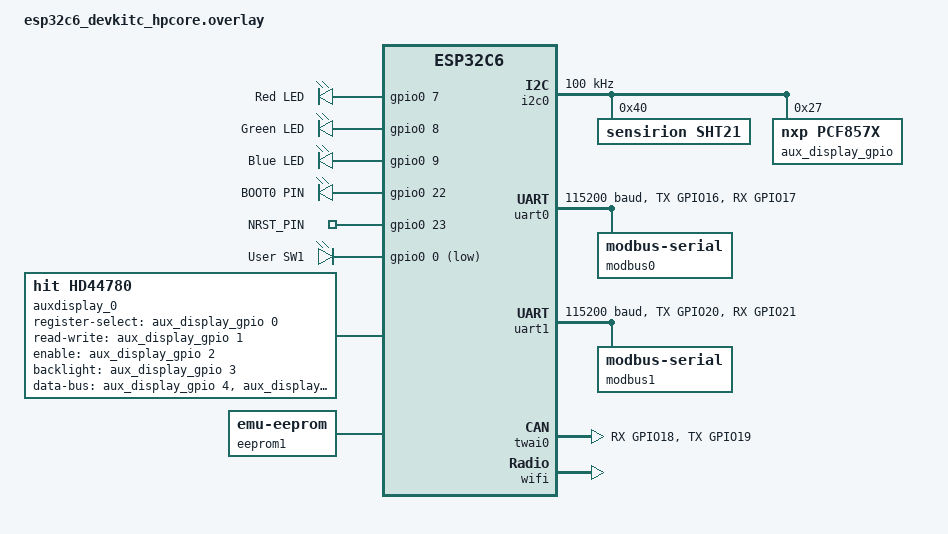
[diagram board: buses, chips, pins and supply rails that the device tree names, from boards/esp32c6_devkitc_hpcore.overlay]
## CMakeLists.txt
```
# SPDX-License-Identifier: Apache-2.0 OR MIT

cmake_minimum_required(VERSION 3.20.0)

find_package(Zephyr REQUIRED HINTS $ENV{ZEPHYR_BASE})
project(Project)

file(READ "${CMAKE_SOURCE_DIR}/VERSION" VERSION_RAW)
string(REPLACE "\r\n" "\n" VERSION_RAW "${VERSION_RAW}")
string(REPLACE "\r"   "\n" VERSION_RAW "${VERSION_RAW}")
string(REGEX REPLACE "\n$" "" VERSION_RAW "${VERSION_RAW}")
string(REPLACE "\n" ";" VERSION_LINES "${VERSION_RAW}")
foreach(line IN LISTS VERSION_LINES)
    string(STRIP "${line}" line)
    if(line MATCHES "^([A-Z_]+)[ ]*=[ ]*(.+)$")
        set(KEY "${CMAKE_MATCH_1}")
        set(VAL "${CMAKE_MATCH_2}")
        message(STATUS "Defining ${KEY}=\"${VAL}\"")
        add_compile_definitions(${KEY}="${VAL}")
    endif()
endforeach()

file(GLOB mongoose_files mongoose/*.c)
target_include_directories(app PRIVATE "${CMAKE_CURRENT_LIST_DIR}/mongoose")

file(GLOB SRC_C_FILES CONFIGURE_DEPENDS "src/*.c" ${mongoose_files})
target_sources(app PRIVATE ${SRC_C_FILES})

rust_cargo_application()
```

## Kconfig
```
# Copyright (c) 2025
# SPDX-License-Identifier: Apache-2.0
# Coskun ERGAN <coskunergan@gmail.com>

mainmenu "ESP32 Canbus Link Demo"

config SAMPLE_RX_THREAD_STACK_SIZE
	int "RX threads stack size"
	default 1024
	help
	  Stack size (in bytes) used for the RX threads.  

config SAMPLE_RX_THREAD_PRIORITY
	int "RX threads priority"
	default 2
	help
	  Priority used for the RX threads.

if WIFI
config NET_IPV4_FORWARDING
    bool "IPv4 forwarding"
    default y
    help
      Enable IPv4 forwarding for AP-STA mode.

config WIFI_SAMPLE_AP_IP_ADDRESS
	string "CONFIG_WIFI_SAMPLE_AP_IP_ADDRESS - Network IP"
	default "192.168.4.1"	

config WIFI_SAMPLE_AP_NETMASK
	string "CONFIG_WIFI_SAMPLE_AP_NETMASK - Network NETMASK"
	default "255.255.255.0"	

config WIFI_SAMPLE_SSID
	string "WIFI SSID - Network name"
	default "SUPERONLINE_Wi-Fi_3AS4"

config WIFI_SAMPLE_PSK
	string "WIFI PSK - Network password key"
	default "K7Q3SKzKC7QN"

config WIFI_SAMPLE_AP_SSID
	string "WIFI AP SSID - Network name"
	default "XENTRON_AP"

config WIFI_SAMPLE_AP_PSK
	string "WIFI AP PSK - Network password key"
	default "deneme123"	

endif # WIFI

source "Kconfig.zephyr"
```

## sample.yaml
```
# See doc/develop/test/twister.rst for what is here.
sample:
  name: Driver Sample
common:
  filter: CONFIG_RUST_SUPPORTED
  platform_allow:
    - qemu_cortex_m0
    - qemu_cortex_m3
    - qemu_riscv32
    - qemu_riscv64    
    - stm32f4_disco
    - nucleo_n657x0_q
    - esp32c3_devkitc
    - esp32c6_devkitc
tests:
  sample.basic.drivers:
    tags:
    filter: 
    depends_on:
    extra_configs:
      - CONFIG_SAMPLE_LOOPBACK_MODE=y
      - CONFIG_SAMPLE_CAN_FD_MODE=n    
    harness:
    integration_platforms:
      - stm32f4_disco
      - nucleo_n657x0_q
      - esp32c3_devkitc
      - esp32c6_devkitc
```

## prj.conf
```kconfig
CONFIG_GPIO=y

CONFIG_RUST=y
CONFIG_RUST_ALLOC=y

CONFIG_DEBUG=y
CONFIG_MAIN_STACK_SIZE=8192

CONFIG_SYS_CLOCK_TICKS_PER_SEC=10000

CONFIG_GPIO_ENABLE_DISABLE_INTERRUPT=y

#Verify that userspace builds work.
#CONFIG_USERSPACE=y

CONFIG_UART_INTERRUPT_DRIVEN=y
CONFIG_UART_LINE_CTRL=n

CONFIG_CONSOLE=y

CONFIG_MODBUS=y
CONFIG_MODBUS_ROLE_CLIENT_SERVER=y

CONFIG_CAN=y
CONFIG_CAN_MAX_FILTER=8
CONFIG_ISOTP=y
CONFIG_ISOTP_RX_SF_FF_BUF_COUNT=1

#CONFIG_SAMPLE_LOOPBACK_MODE=y

CONFIG_GPIO_PCF857X=y
CONFIG_AUXDISPLAY=y
CONFIG_BUILD_OUTPUT_HEX=y

# General config
CONFIG_POSIX_API=y

CONFIG_WIFI=y

CONFIG_NET_CONFIG_NEED_IPV4=y
CONFIG_NET_CONFIG_NEED_IPV6=y
CONFIG_NET_DHCPV4=y
CONFIG_NET_DHCPV4_SERVER=y

# CONFIG_NET_CONFIG_MY_IPV4_NETMASK="255.255.255.0"
# CONFIG_NET_CONFIG_MY_IPV4_GW="192.168.1.1"
# CONFIG_NET_CONFIG_PEER_IPV4_ADDR="192.168.1.1"

# CONFIG_NET_CONFIG_MY_IPV4_ADDR="192.168.1.150"
# CONFIG_NET_CONFIG_MY_IPV4_GW="192.168.1.1"
# CONFIG_NET_CONFIG_MY_IPV4_NETMASK="255.255.255.0"

CONFIG_IDLE_STACK_SIZE=1024
CONFIG_ISR_STACK_SIZE=2048
CONFIG_SYSTEM_WORKQUEUE_STACK_SIZE=2304

CONFIG_NET_PKT_RX_COUNT=32
CONFIG_NET_PKT_TX_COUNT=32
CONFIG_NET_BUF_RX_COUNT=96
CONFIG_NET_BUF_TX_COUNT=96
CONFIG_NET_TX_STACK_SIZE=2048
CONFIG_NET_RX_STACK_SIZE=2048
CONFIG_NET_TC_TX_COUNT=1
CONFIG_NET_TC_RX_COUNT=1

CONFIG_NET_CONTEXT_NET_PKT_POOL=y
#CONFIG_NET_SOCKETS_CONNECT_TIMEOUT=500
CONFIG_NET_TCP_TIME_WAIT_DELAY=0
CONFIG_NET_BUF_POOL_USAGE=y

CONFIG_ENTROPY_GENERATOR=y
CONFIG_TEST_RANDOM_GENERATOR=y

CONFIG_WIFI_ESP32=y
CONFIG_ESP32_WIFI_STA_AUTO_DHCPV4=n
CONFIG_ESP32_WIFI_AP_STA_MODE=y

CONFIG_NET_MGMT=y
CONFIG_NET_MGMT_EVENT=y
CONFIG_NET_MGMT_EVENT_INFO=y

CONFIG_WIFI_NM=y
# CONFIG_WIFI_SHELL_MAX_AP_STA=2
# CONFIG_WIFI_MGMT_RAW_SCAN_RESULTS=y
# CONFIG_WIFI_MGMT_FORCED_PASSIVE_SCAN=y
# CONFIG_WIFI_MGMT_SCAN_SSID_FILT_MAX=3
# CONFIG_WIFI_MGMT_SCAN_CHAN_MAX_MANUAL=10
CONFIG_WIFI_NM_MAX_MANAGED_INTERFACES=2
# CONFIG_WIFI_MGMT_AP_STA_SKIP_INACTIVITY_POLL=y
# CONFIG_WIFI_MGMT_AP_MAX_NUM_STA=10

# CONFIG_WIFI_NM_WPA_SUPPLICANT=y
# CONFIG_WIFI_NM_WPA_SUPPLICANT_DEBUG_LEVEL=0
CONFIG_WIFI_NM_WPA_SUPPLICANT_WEP=y
CONFIG_WIFI_NM_WPA_SUPPLICANT_ADVANCED_FEATURES=y
CONFIG_WIFI_NM_WPA_SUPPLICANT_CLI=y
CONFIG_WPA_CLI=y

CONFIG_NET_TCP_WORKQ_STACK_SIZE=4096

# Network Configuration
CONFIG_NET_CONFIG_AUTO_INIT=n
CONFIG_NET_CONNECTION_MANAGER=y
CONFIG_NET_IF_MAX_IPV4_COUNT=2
CONFIG_NET_IF_MAX_IPV6_COUNT=2
CONFIG_NET_IPV4=y
CONFIG_NET_IPV6=n

# CONFIG_NET_L2_ETHERNET=y
CONFIG_NET_L2_WIFI_MGMT=y
CONFIG_NET_MGMT=y   
CONFIG_NET_MGMT_EVENT=y
CONFIG_NET_MGMT_EVENT_INFO=y
CONFIG_NET_MGMT_EVENT_QUEUE_SIZE=32
CONFIG_NET_MGMT_EVENT_STACK_SIZE=4096
CONFIG_NET_SOCKETS_SERVICE_STACK_SIZE=4096
CONFIG_NET_TCP=y
CONFIG_NET_UDP=y
CONFIG_NETWORKING=y

CONFIG_NET_SOCKETS_POLL_MAX=32
CONFIG_ZVFS_OPEN_MAX=32
CONFIG_NET_MAX_CONN=32
CONFIG_NET_MAX_CONTEXTS=32
CONFIG_NET_BUF_FIXED_DATA_SIZE=y
CONFIG_NET_BUF_DATA_SIZE=512

CONFIG_PM=n

CONFIG_NET_TCP_KEEPALIVE=y
CONFIG_NET_TCP_KEEPIDLE_DEFAULT=15
CONFIG_NET_TCP_KEEPINTVL_DEFAULT=10

# General config
CONFIG_REQUIRES_FULL_LIBC=y
CONFIG_MBEDTLS=y
CONFIG_MBEDTLS_ENABLE_HEAP=y
CONFIG_MBEDTLS_MD_C=y
CONFIG_NET_CONTEXT_RCVTIMEO=y
CONFIG_NET_CONTEXT_SNDTIMEO=y
CONFIG_NET_TCP_MAX_RECV_WINDOW_SIZE=16384

CONFIG_NET_TCP_RETRY_COUNT=3
CONFIG_NET_TCP_INIT_RETRANSMISSION_TIMEOUT=120
#----------------------------

CONFIG_BOOTLOADER_MCUBOOT=y
CONFIG_MCUBOOT_SIGNATURE_KEY_FILE="root-rsa-2048.pem"

CONFIG_ZCBOR=y
CONFIG_CRC=y
CONFIG_MCUMGR=y
CONFIG_STREAM_FLASH=y
CONFIG_FLASH_MAP=y

CONFIG_IMG_MANAGER=y
CONFIG_MCUBOOT_IMG_MANAGER=y
CONFIG_FLASH=y
# CONFIG_STATS=y
# CONFIG_STATS_NAMES=y
CONFIG_MCUMGR_GRP_IMG=y
CONFIG_MCUMGR_GRP_STAT=y
CONFIG_MCUBOOT_UTIL_LOG_LEVEL_WRN=y
CONFIG_MCUBOOT_BOOTLOADER_MODE_SINGLE_APP=n

# CONFIG_MCUMGR_TRANSPORT_UART=y
# CONFIG_MCUMGR_TRANSPORT_UART_MTU=256
CONFIG_MCUMGR_TRANSPORT_UDP=y
CONFIG_MCUMGR_TRANSPORT_UDP_PORT=1337
CONFIG_MCUMGR_TRANSPORT_UDP_MTU=1024

CONFIG_BASE64=y

CONFIG_THREAD_MONITOR=y
CONFIG_MCUMGR_GRP_OS=y
CONFIG_MCUMGR_GRP_OS_TASKSTAT=y
CONFIG_MCUMGR_GRP_SHELL=y
CONFIG_SHELL_BACKEND_SERIAL=y

#CONFIG_SIZE_OPTIMIZATIONS=y
CONFIG_SIZE_OPTIMIZATIONS_AGGRESSIVE=y

CONFIG_SENSOR=y
CONFIG_I2C=y

CONFIG_EEPROM=y
CONFIG_EEPROM_EMULATOR=y

#----------------------

CONFIG_NET_IPV4_NAT=y
CONFIG_NET_IPV4_NAT_RUST=y
CONFIG_NET_IPV4_NAT_MAX_ENTRIES=64

# CONFIG_NET_CONFIG_MY_IPV4_ADDR="192.168.1.150"
# CONFIG_NET_CONFIG_MY_IPV4_GW="192.168.1.1"
# CONFIG_NET_CONFIG_MY_IPV4_NETMASK="255.255.255.0"

CONFIG_NET_BUF=y
CONFIG_NET_ROUTING=y
CONFIG_NET_CONFIG_SETTINGS=n
# CONFIG_NET_STATISTICS=y
CONFIG_NET_IPV4_FORWARDING=y

CONFIG_SHELL=y
CONFIG_SHELL_CMDS=y
CONFIG_NET_SHELL=y
CONFIG_KERNEL_SHELL=y

CONFIG_LOG=y
CONFIG_LOG_DEFAULT_LEVEL=2

# CONFIG_NET_LOG=y
# #CONFIG_LOG_MAX_LEVEL=3
# CONFIG_LOG_BUFFER_SIZE=8192
# CONFIG_LOG_MODE_DEFERRED=y

# CONFIG_NET_L2_ETHERNET_LOG_LEVEL_DBG=y
# CONFIG_NET_DHCPV4_SERVER_LOG_LEVEL_DBG=y
# CONFIG_NET_SOCKETS_LOG_LEVEL_DBG=y
# CONFIG_NET_IF_LOG_LEVEL_DBG=y
# CONFIG_NET_CONN_LOG_LEVEL_DBG=y
# CONFIG_NET_IPV4_LOG_LEVEL_DBG=y
# CONFIG_NET_CORE_LOG_LEVEL_DBG=y
# CONFIG_NET_CONTEXT_LOG_LEVEL_DBG=y
# CONFIG_NET_MGMT_EVENT_LOG_LEVEL_DBG=y
# CONFIG_NET_MGMT_EVENT_LOG_LEVEL_INF=y
# CONFIG_NET_TCP_LOG_LEVEL_DBG=y
# CONFIG_NET_DEBUG_NET_PKT_ALLOC=y
CONFIG_SYS_HEAP_RUNTIME_STATS=y
CONFIG_NET_STATISTICS=y

CONFIG_NET_IPV4_FRAGMENT=n
CONFIG_NET_IF_UNICAST_IPV4_ADDR_COUNT=2

CONFIG_DNS_RESOLVER=y
CONFIG_DNS_SERVER_IP_ADDRESSES=y
CONFIG_DNS_SERVER1="8.8.8.8"
```

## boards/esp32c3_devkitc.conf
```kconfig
CONFIG_HEAP_MEM_POOL_SIZE=50000
# CONFIG_NET_CONFIG_MY_IPV4_ADDR="192.168.1.7"
```

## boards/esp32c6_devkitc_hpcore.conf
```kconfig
CONFIG_HEAP_MEM_POOL_SIZE=100000
# CONFIG_NET_CONFIG_MY_IPV4_ADDR="192.168.1.15"
```

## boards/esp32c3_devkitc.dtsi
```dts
#include <zephyr/dt-bindings/pinctrl/esp-pinctrl-common.h>
#include <dt-bindings/pinctrl/esp32c3-pinctrl.h>
#include <zephyr/dt-bindings/pinctrl/esp32c3-gpio-sigmap.h>

&pinctrl {
    uart0_pins: uart0_pins {
		group1 {
			pinmux = <UART0_TX_GPIO21>;
			output-high;
		};
		group2 {
			pinmux = <UART0_RX_GPIO20>;
			bias-pull-up;
		};
	};
	uart1_pins: uart1_pins {
		group1 {
			pinmux = <UART1_TX_GPIO18>;
			output-high;
		};
		group2 {
			pinmux = <UART1_RX_GPIO19>;
			bias-pull-up;
		};
	};
	pcf8574_pins: pcf8574_pins {
    	group1 {
                pinmux = <I2C0_SDA_GPIO4>,
                            <I2C0_SCL_GPIO5>;
                bias-pull-up;
                drive-open-drain;
                output-high;
            };
    };	
};

&i2c0 { 
	status = "okay"; 
	clock-frequency = <I2C_BITRATE_STANDARD>; 
	pinctrl-0 = <&pcf8574_pins>; 
	pinctrl-names = "default"; 
};
```

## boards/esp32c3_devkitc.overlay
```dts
#include <zephyr/dt-bindings/pinctrl/esp-pinctrl-common.h>
#include <dt-bindings/pinctrl/esp32c3-pinctrl.h>
#include <zephyr/dt-bindings/pinctrl/esp32c3-gpio-sigmap.h>

/ { 		
	leds {
		compatible = "gpio-leds";
		red_led: red_led {
			gpios = <&gpio0 3 GPIO_ACTIVE_HIGH>;
			label = "Red LED";
		};
		green_led: green_led {
			gpios = <&gpio0 4 GPIO_ACTIVE_HIGH>;
			label = "Green LED";
		};
		blue_led: blue_led {
			gpios = <&gpio0 5 GPIO_ACTIVE_HIGH>;
			label = "Blue LED";
		};
	};
	
	buttons {
		compatible = "gpio-leds";
		button: button {
			label = "User SW1";
			gpios = <&gpio0 9 (GPIO_PULL_UP | GPIO_ACTIVE_LOW)>;
		};
	};	

	auxdisplay_0: hd44780 {
		compatible = "hit,hd44780";
		columns = <16>;
		rows = <2>;
		mode = <4>;
		boot-delay-ms = <100>;
		register-select-gpios = <&aux_display_gpio 0 (GPIO_ACTIVE_HIGH)>;
		read-write-gpios    = <&aux_display_gpio 1 (GPIO_ACTIVE_HIGH)>;
		enable-gpios        = <&aux_display_gpio 2 (GPIO_ACTIVE_HIGH)>;
		backlight-gpios     = <&aux_display_gpio 3 (GPIO_ACTIVE_HIGH)>;
		data-bus-gpios      = <0>, <0>, <0>, <0>,
				<&aux_display_gpio 4 (GPIO_ACTIVE_HIGH)>,
				<&aux_display_gpio 5 (GPIO_ACTIVE_HIGH)>,
				<&aux_display_gpio 6 (GPIO_ACTIVE_HIGH)>,
				<&aux_display_gpio 7 (GPIO_ACTIVE_HIGH)>;
	};
};

&pinctrl {
    uart0_pins: uart0_pins {
		group1 {
			pinmux = <UART0_TX_GPIO21>;
			output-high;
		};
		group2 {
			pinmux = <UART0_RX_GPIO20>;
			bias-pull-up;
		};
	};
	uart1_pins: uart1_pins {
		group1 {
			pinmux = <UART1_TX_GPIO18>;
			output-high;
		};
		group2 {
			pinmux = <UART1_RX_GPIO19>;
			bias-pull-up;
		};
	};
	pcf8574_pins: pcf8574_pins {
    	group1 {
                pinmux = <I2C0_SDA_GPIO6>,
                            <I2C0_SCL_GPIO7>;
                bias-pull-up;
                drive-open-drain;
                output-high;
            };
    };	
};

&i2c0 { 
	status = "okay"; 
	pinctrl-0 = <&pcf8574_pins>; 
	clock-frequency = <I2C_BITRATE_STANDARD>; 
	pinctrl-names = "default"; 
   	sht21: sht21@40 {
        compatible = "sensirion,sht21";
        reg = <0x40>;
		label = "sht21";
        status = "okay";
    };		
	aux_display_gpio: pcf8574@27 {
		compatible = "nxp,pcf857x";
		reg = <0x27>;
		gpio-controller;
		ngpios = <8>;
		#gpio-cells = <2>;
	};				
};

&uart0 {
	pinctrl-0 = <&uart0_pins>;
	pinctrl-names = "default";
	current-speed = <115200>;
	status = "okay";
	modbus0 {
		compatible = "zephyr,modbus-serial";
		status = "okay";
	};		
};

&uart1 {
	pinctrl-0 = <&uart1_pins>;
	pinctrl-names = "default";
	current-speed = <115200>;
	status = "okay";
	modbus1 {
		compatible = "zephyr,modbus-serial";
		status = "okay";
	};		
};

&wifi {
    status = "okay";
};

&flash0 {
    reg = <0x0 DT_SIZE_M(2)>;
    
    /delete-node/ partitions;
    
    partitions {
        compatible = "fixed-partitions";
        #address-cells = <1>;
        #size-cells = <1>;

        /* Bootloader - 64KB */
        boot_partition: partition@0 {
            label = "mcuboot";
            reg = <0x00000000 0x00010000>;
            read-only;
        };
        
        /* Slot 0 - 960KB */
        slot0_partition: partition@10000 {
            label = "image-0";
            reg = <0x00010000 0x000F0000>;
        };
        
        /* Slot 1 - 960KB  */
        slot1_partition: partition@100000 {
            label = "image-1";
            reg = <0x00100000 0x000F0000>;
        };
        
        /* Storage - 64KB */
        storage_partition: partition@1F0000 {
            label = "storage";
            reg = <0x001F0000 0x00010000>;
        };
    };
};
```

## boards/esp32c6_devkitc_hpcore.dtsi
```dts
#include <zephyr/dt-bindings/pinctrl/esp-pinctrl-common.h>
#include <dt-bindings/pinctrl/esp32c6-pinctrl.h>
#include <zephyr/dt-bindings/pinctrl/esp32c6-gpio-sigmap.h>

&pinctrl {    
	uart0_pins: uart0_pins {
		group1 {
			pinmux = <UART0_TX_GPIO16>;
			output-high;
		};

		group2 {
			pinmux = <UART0_RX_GPIO17>;
			bias-pull-up;
		};
	};
	uart1_pins: uart1_pins {
		group1 {
			pinmux = <UART1_TX_GPIO20>;
			output-high;
		};

		group2 {
			pinmux = <UART1_RX_GPIO21>;
			bias-pull-up;
		};
	};
	twai0_pins: twai0_pins {
		group1 {
			pinmux = <TWAI0_RX_GPIO18>;
			output-enable;	
		};
		group2 {
			pinmux = <TWAI0_TX_GPIO19>;
			input-enable;	
		};
	};
	pcf8574_pins: pcf8574_pins {
    	group1 {
                pinmux = <I2C0_SDA_GPIO4>,
                            <I2C0_SCL_GPIO5>;
                bias-pull-up;
                drive-open-drain;
                output-high;
            };
    };	
};

&i2c0 { 
	status = "okay"; 
	clock-frequency = <I2C_BITRATE_STANDARD>; 
	pinctrl-0 = <&pcf8574_pins>; 
	pinctrl-names = "default"; 
};
```

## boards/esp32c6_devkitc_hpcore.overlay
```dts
#include <zephyr/dt-bindings/pinctrl/esp-pinctrl-common.h>
#include <dt-bindings/pinctrl/esp32c6-pinctrl.h>
#include <zephyr/dt-bindings/pinctrl/esp32c6-gpio-sigmap.h>

/ { 	
	aliases {
        uart1 = &uart1;
    };
	leds {
		compatible = "gpio-leds";
		red_led: red_led {
			gpios = <&gpio0 7 GPIO_ACTIVE_HIGH>;
			label = "Red LED";
		};
		green_led: green_led {
			gpios = <&gpio0 8 GPIO_ACTIVE_HIGH>;
			label = "Green LED";
		};
		blue_led: blue_led {
			gpios = <&gpio0 9 GPIO_ACTIVE_HIGH>;
			label = "Blue LED";
		};
	};
	boot0-gpio {
		compatible = "gpio-leds";
		boot0_pin: boot0_pin {
			gpios = <&gpio0 22 GPIO_ACTIVE_HIGH>;
			label = "BOOT0 PIN";
		};	
	};
	nrst-gpio {
		compatible = "gpio-leds";			
		nrst_pin: nrst_pin {
			gpios = <&gpio0 23 GPIO_ACTIVE_HIGH>;
			label = "NRST_PIN";
		};		
	};	
	buttons {
		compatible = "gpio-leds";
		button: button {
			label = "User SW1";
			gpios = <&gpio0 0 (GPIO_PULL_UP | GPIO_ACTIVE_LOW)>;
		};
	};		

	auxdisplay_0: hd44780 {
		compatible = "hit,hd44780";
		columns = <16>;
		rows = <2>;
		mode = <4>;
		boot-delay-ms = <100>;
		register-select-gpios = <&aux_display_gpio 0 (GPIO_ACTIVE_HIGH)>;
		read-write-gpios    = <&aux_display_gpio 1 (GPIO_ACTIVE_HIGH)>;
		enable-gpios        = <&aux_display_gpio 2 (GPIO_ACTIVE_HIGH)>;
		backlight-gpios     = <&aux_display_gpio 3 (GPIO_ACTIVE_HIGH)>;
		data-bus-gpios      = <0>, <0>, <0>, <0>,
				<&aux_display_gpio 4 (GPIO_ACTIVE_HIGH)>,
				<&aux_display_gpio 5 (GPIO_ACTIVE_HIGH)>,
				<&aux_display_gpio 6 (GPIO_ACTIVE_HIGH)>,
				<&aux_display_gpio 7 (GPIO_ACTIVE_HIGH)>;
	};		
	eeprom1: eeprom1 {
		status = "okay";
		compatible = "zephyr,emu-eeprom";
		size = <DT_SIZE_K(4)>;
		pagesize = <DT_SIZE_K(8)>;
	 	partition = <&storage_partition>;
	 	rambuf;
	};	
	aliases {		
		eeprom-1 = &eeprom1;
	};	
	wifi_ap: wifi_ap {
		compatible = "espressif,esp32-wifi";
		status = "okay";
	};	
};

&pinctrl {    
	uart0_pins: uart0_pins {
		group1 {
			pinmux = <UART0_TX_GPIO16>;
			output-high;
		};

		group2 {
			pinmux = <UART0_RX_GPIO17>;
			bias-pull-up;
		};
	};
	uart1_pins: uart1_pins {
		group1 {
			pinmux = <UART1_TX_GPIO20>;
			output-high;
		};

		group2 {
			pinmux = <UART1_RX_GPIO21>;
			bias-pull-up;
		};
	};
	twai0_pins: twai0_pins {
		group1 {
			pinmux = <TWAI0_RX_GPIO18>;
			output-enable;	
		};
		group2 {
			pinmux = <TWAI0_TX_GPIO19>;
			input-enable;	
		};
	};
	pcf8574_pins: pcf8574_pins {
    	group1 {
                pinmux = <I2C0_SDA_GPIO4>,
                            <I2C0_SCL_GPIO5>;
                bias-pull-up;
                drive-open-drain;
                output-high;
            };
    };	
};

&i2c0 { 
	status = "okay"; 
	pinctrl-0 = <&pcf8574_pins>; 
	clock-frequency = <I2C_BITRATE_STANDARD>; 
	pinctrl-names = "default"; 
   	sht21: sht21@40 {
        compatible = "sensirion,sht21";
        reg = <0x40>;
		label = "sht21";
        status = "okay";
    };		
	aux_display_gpio: pcf8574@27 {
		compatible = "nxp,pcf857x";
		reg = <0x27>;
		gpio-controller;
		ngpios = <8>;
		#gpio-cells = <2>;
	};				
};

&uart0 {
	pinctrl-0 = <&uart0_pins>;
	pinctrl-names = "default";
	current-speed = <115200>;
	status = "okay";
	modbus0 {
		compatible = "zephyr,modbus-serial";
		status = "okay";
	};		
};

&uart1 {
	pinctrl-0 = <&uart1_pins>;
	pinctrl-names = "default";
	current-speed = <115200>;
	parity = "even";
	status = "okay";
	modbus1 {
		compatible = "zephyr,modbus-serial";
		status = "okay";
	};		
};

&twai0{		
	pinctrl-0 = <&twai0_pins>;
	pinctrl-names = "default";
	label = "canbus0"; 
	status = "okay";
	can-transceiver {
		max-bitrate = <1000000>;
	};
};

&wifi {
    status = "okay";
};
```

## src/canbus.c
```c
// Copyright (c) 2025
// SPDX-License-Identifier: Apache-2.0
// Coskun ERGAN <coskunergan@gmail.com>

#include <zephyr/kernel.h>
#include <zephyr/canbus/isotp.h>
#include <zephyr/sys/util.h>
#include <zephyr/logging/log.h>
#include <zephyr/sys/sys_heap.h>
#include <zephyr/shell/shell.h>
#include <stdlib.h> 

LOG_MODULE_REGISTER(canbus, LOG_LEVEL_DBG);

// static int cmd_heap_free_estimate(const struct shell *sh, size_t argc, char **argv)
// {
//     size_t step = 1024;
//     size_t total = 0;
//     void *ptrs[64];        
//     int i = 0;

//     while (i < 64) {
//         void *p = malloc(step);
//         if (!p) break;      
//         ptrs[i++] = p;
//         total += step;
//     }

//     shell_print(sh, "Estimated free heap: ~%u bytes", (unsigned int)total);

//     while (i--) free(ptrs[i]);

//     return 0;
// }

// SHELL_CMD_REGISTER(heapfree, NULL, "Estimate minimal libc heap free space", cmd_heap_free_estimate);


const struct isotp_fc_opts fc_opts_8_0 = {.bs = 8, .stmin = 0};

const struct isotp_msg_id rx_addr_8_0 =
{
    .std_id = 0x80,
#ifdef CONFIG_SAMPLE_CAN_FD_MODE
    .flags = ISOTP_MSG_FDF | ISOTP_MSG_BRS,
#endif
};
const struct isotp_msg_id tx_addr_8_0 =
{
    .std_id = 0x180,
#ifdef CONFIG_SAMPLE_CAN_FD_MODE
    .dl = 64,
    .flags = ISOTP_MSG_FDF | ISOTP_MSG_BRS,
#endif
};

const struct device *can_dev;
struct isotp_recv_ctx recv_ctx_8_0;
struct isotp_send_ctx send_ctx_8_0;

K_THREAD_STACK_DEFINE(rx_8_0_thread_stack, CONFIG_SAMPLE_RX_THREAD_STACK_SIZE);
struct k_thread rx_8_0_thread_data;

extern void canbus_data_handler(const uint8_t *data, uint32_t len);

void rx_8_0_thread(void *arg1, void *arg2, void *arg3)
{
    ARG_UNUSED(arg1);
    ARG_UNUSED(arg2);
    ARG_UNUSED(arg3);
    int ret, rem_len;
    struct net_buf *buf;

    ret = isotp_bind(&recv_ctx_8_0, can_dev,
                     &tx_addr_8_0, &rx_addr_8_0,
                     &fc_opts_8_0, K_FOREVER);
    if(ret != ISOTP_N_OK)
    {
        LOG_ERR("Failed to bind to rx ID %d [%d]\n",
                rx_addr_8_0.std_id, ret);
        return;
    }

    while(1)
    {
        do
        {
            rem_len = isotp_recv_net(&recv_ctx_8_0, &buf,
                                     K_MSEC(20));
            if(rem_len < 0)
            {
                break;
            }
            while(buf != NULL)
            {
                canbus_data_handler(buf->data, buf->len);
                buf = net_buf_frag_del(NULL, buf);
            }
        }
        while(rem_len);
    }
}

void send_complette_cb(int error_nr, void *arg)
{
    ARG_UNUSED(arg);
    if(error_nr < 0)
    {
        LOG_ERR("TX complete cb [%d]\n", error_nr);
    }
}

int canbus_init(const char *dev_name)
{
    k_tid_t tid;

    int ret = 0;

    can_dev = device_get_binding(dev_name);

    if(!device_is_ready(can_dev))
    {
        LOG_ERR("CAN: Device driver not ready.\n");
        return -1;
    }

    struct can_timing timing;

    ret = can_calc_timing(can_dev, &timing, 500000, 875);
    if(ret < 0)
    {
        LOG_ERR("Failed to calc timing: %d\n", ret);
        return ret;
    }

    ret = can_set_timing(can_dev, &timing);
    if(ret < 0)
    {
        LOG_ERR("Failed to set timing: %d\n", ret);
        return ret;
    }

    can_mode_t mode = (IS_ENABLED(CONFIG_SAMPLE_LOOPBACK_MODE) ? CAN_MODE_LOOPBACK : 0) |
                      (IS_ENABLED(CONFIG_SAMPLE_CAN_FD_MODE) ? CAN_MODE_FD : 0);
    ret = can_set_mode(can_dev, mode);
    if(ret != 0)
    {
        LOG_ERR("CAN: Failed to set mode [%d]", ret);
        return ret;
    }

    ret = can_start(can_dev);
    if(ret != 0)
    {
        LOG_ERR("CAN: Failed to start device [%d]\n", ret);
        return ret;
    }

    tid = k_thread_create(&rx_8_0_thread_data, rx_8_0_thread_stack,
                          K_THREAD_STACK_SIZEOF(rx_8_0_thread_stack),
                          rx_8_0_thread, NULL, NULL, NULL,
                          CONFIG_SAMPLE_RX_THREAD_PRIORITY, 0, K_NO_WAIT);
    if(!tid)
    {
        LOG_ERR("ERROR spawning rx thread\n");
        return -1;
    }
    k_thread_name_set(tid, "rx_8_0");

    return ret;
}

int canbus_isotp_send(const uint8_t *data, const uint16_t len)
{
    int ret = isotp_send(&send_ctx_8_0, can_dev,
                         data, len,
                         &tx_addr_8_0, &rx_addr_8_0, send_complette_cb, NULL);
    if(ret != ISOTP_N_OK)
    {
        LOG_WRN("Error while sending data to ID %d [%d]\n",
                tx_addr_8_0.std_id, ret);
    }
    return ret;
}
```

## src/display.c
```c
// Copyright (c) 2025
// SPDX-License-Identifier: Apache-2.0
// Coskun ERGAN <coskunergan@gmail.com>

#include <zephyr/kernel.h>
#include <zephyr/devicetree.h>
#include <zephyr/device.h>
#include <zephyr/drivers/auxdisplay.h>
#include <zephyr/logging/log.h>

LOG_MODULE_REGISTER(auxdisplay, LOG_LEVEL_DBG);

static const struct device *const display_dev = DEVICE_DT_GET_OR_NULL(DT_NODELABEL(auxdisplay_0));

int display_init()
{
    if(display_dev == NULL)
    {
        LOG_ERR("Auxdisplay device is not a device.");
        return -EINVAL;
    }
    if(!device_is_ready(display_dev))
    {
        LOG_ERR("Auxdisplay device is not ready.");
        return -ENODEV;
    }
    return 0;
}

int display_write(const uint8_t *data, uint16_t len)
{
    return auxdisplay_write(display_dev, data, len);
}

int display_clear(void)
{
    return auxdisplay_clear(display_dev);
}

int display_set_cursor(bool state)
{
    return auxdisplay_cursor_set_enabled(display_dev, state);
}

int display_set_backlight(uint8_t state)
{
    return auxdisplay_backlight_set(display_dev, state);
}
```

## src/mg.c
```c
// Copyright (c) 2025
// SPDX-License-Identifier: Apache-2.0
// Coskun ERGAN <coskunergan@gmail.com>

#include <zephyr/kernel.h>
#include <zephyr/canbus/isotp.h>
#include <zephyr/sys/util.h>
#include <zephyr/logging/log.h>

#include "mongoose_glue.h"

void mg_poll()
{
    mongoose_poll();
}

int mg_init()
{
    mongoose_init();
    return 0;
}
```

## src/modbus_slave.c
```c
// Copyright (c) 2025
// SPDX-License-Identifier: Apache-2.0
// Coskun ERGAN <coskunergan@gmail.com>

#include <zephyr/kernel.h>
#include <zephyr/devicetree.h>
#include <zephyr/modbus/modbus.h>
#include <zephyr/sys/util.h>
#include <zephyr/logging/log.h>

LOG_MODULE_REGISTER(modbus_slave, LOG_LEVEL_DBG);

const uint16_t drv_slave_id = 1;
uint8_t client_iface;

#define NUMBER_OF_MB_ITEM 64

struct
{
    uint16_t *regs[NUMBER_OF_MB_ITEM];
} modbus_regs_ptr;

static int holding_reg_rd(uint16_t addr, uint16_t *reg)
{
    if(addr >= NUMBER_OF_MB_ITEM)
    {
        return -ENOTSUP;
    }
    else
    {
        if(modbus_regs_ptr.regs[addr] != NULL)
        {
            *reg = *modbus_regs_ptr.regs[addr];
        }
        else
        {
            *reg = 0;
            return -ENOTSUP;
        }
    }
    return 0;
}

static int holding_reg_wr(uint16_t addr, uint16_t reg)
{
    if(addr >= NUMBER_OF_MB_ITEM)
    {
        return -ENOTSUP;
    }
    else
    {
        if(modbus_regs_ptr.regs[addr] != NULL)
        {
            *modbus_regs_ptr.regs[addr] = reg;
        }
        else
        {
            return -ENOTSUP;
        }
    }
    return 0;
}

static struct modbus_user_callbacks mbs_cbs =
{
    .coil_rd = NULL,
    .coil_wr = NULL,
    .input_reg_rd = NULL,
    .holding_reg_rd = holding_reg_rd,
    .holding_reg_wr = holding_reg_wr,
};

const static struct modbus_iface_param client_param =
{
    .mode = MODBUS_MODE_RTU,
    .server = {
        .user_cb = &mbs_cbs,
        .unit_id = drv_slave_id,
    },
    .serial = {
        .baud = 115200,
        .parity = UART_CFG_PARITY_EVEN,
        .stop_bits = UART_CFG_STOP_BITS_1,
    },
};

int mb_slave_init(const char *dev)
{
    client_iface = modbus_iface_get_by_name(dev);
    if(modbus_init_server(client_iface, client_param))
    {
        LOG_ERR("Modbus Server initialization failed! client_iface: %d", client_iface);
        return -1;
    }
    LOG_INF("Modbus Server initialization ok. client_iface: %d", client_iface);
    return 0;
}

int mb_slave_disable()
{    
    return modbus_disable(client_iface);
}

int mb_add_holding_reg(uint16_t * reg, const uint16_t addr)
{
    if(addr >= NUMBER_OF_MB_ITEM)
    {
        return -1;
    }
    modbus_regs_ptr.regs[addr] = reg;
    return 0;
}
```

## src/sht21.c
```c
// Copyright (c) 2025
// SPDX-License-Identifier: Apache-2.0
// Coskun ERGAN <coskunergan@gmail.com>

#include <zephyr/kernel.h>
#include <zephyr/devicetree.h>
#include <zephyr/device.h>
#include <zephyr/drivers/sensor.h>
#include <zephyr/logging/log.h>

LOG_MODULE_REGISTER(sht21, LOG_LEVEL_DBG);

static const struct device *const sht21_dev = DEVICE_DT_GET_OR_NULL(DT_NODELABEL(sht21));

int sht21_init()
{
    if(!device_is_ready(sht21_dev))
    {
        LOG_ERR("SHT21 device is not ready.");
        return -ENODEV;
    }

    return 0;
}

int sht21_read_data(float *temperature, float *humidity)
{
    struct sensor_value temp_val, hum_val;
    int ret;

    if(sht21_dev == NULL)
    {
        LOG_ERR("HATA: Sensör başlatılmamış!\n");
        return -EINVAL;
    }

    if(temperature == NULL || humidity == NULL)
    {
        LOG_ERR("HATA: Geçersiz pointer!\n");
        return -EINVAL;
    }

    ret = sensor_sample_fetch(sht21_dev);
    if(ret)
    {
        LOG_ERR("HATA: Sensor sample fetch hatası: %d\n", ret);
        return ret;
    }

    ret = sensor_channel_get(sht21_dev, SENSOR_CHAN_AMBIENT_TEMP, &temp_val);
    if(ret)
    {
        LOG_ERR("HATA: Sıcaklık okuma hatası: %d\n", ret);
        return ret;
    }

    ret = sensor_channel_get(sht21_dev, SENSOR_CHAN_HUMIDITY, &hum_val);
    if(ret)
    {
        LOG_ERR("HATA: Nem okuma hatası: %d\n", ret);
        return ret;
    }

    *temperature = sensor_value_to_double(&temp_val);
    *humidity = sensor_value_to_double(&hum_val);

    return 0;
}

int sht21_read_temperature(float *temperature)
{
    struct sensor_value temp_val;
    int ret;

    if(sht21_dev == NULL)
    {
        return -EINVAL;
    }

    if(temperature == NULL)
    {
        return -EINVAL;
    }

    ret = sensor_sample_fetch_chan(sht21_dev, SENSOR_CHAN_AMBIENT_TEMP);
    if(ret)
    {
        return ret;
    }

    ret = sensor_channel_get(sht21_dev, SENSOR_CHAN_AMBIENT_TEMP, &temp_val);
    if(ret)
    {
        return ret;
    }

    *temperature = sensor_value_to_double(&temp_val);
    return 0;
}

int sht21_read_humidity(float *humidity)
{
    struct sensor_value hum_val;
    int ret;

    if(sht21_dev == NULL)
    {
        return -EINVAL;
    }

    if(humidity == NULL)
    {
        return -EINVAL;
    }

    ret = sensor_sample_fetch_chan(sht21_dev, SENSOR_CHAN_HUMIDITY);
    if(ret)
    {
        return ret;
    }

    ret = sensor_channel_get(sht21_dev, SENSOR_CHAN_HUMIDITY, &hum_val);
    if(ret)
    {
        return ret;
    }

    *humidity = sensor_value_to_double(&hum_val);
    return 0;
}

bool sht21_is_ready()
{
    if(sht21_dev == NULL)
    {
        return false;
    }
    return device_is_ready(sht21_dev);
}
```

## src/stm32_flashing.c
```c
// Copyright (c) 2025
// SPDX-License-Identifier: Apache-2.0
// Coskun ERGAN <coskunergan@gmail.com>

#include <zephyr/kernel.h>
#include <zephyr/device.h>
#include <zephyr/drivers/gpio.h>
#include <zephyr/drivers/uart.h>
#include <zephyr/drivers/flash.h>
#include <zephyr/storage/flash_map.h>
#include <zephyr/logging/log.h>
#include <zephyr/drivers/uart.h>

LOG_MODULE_REGISTER(main, LOG_LEVEL_INF);

#define UART_DEV        DEVICE_DT_GET(DT_ALIAS(uart1))
#define BOOT0_NODE      DT_NODELABEL(boot0_pin)
#define NRST_NODE       DT_NODELABEL(nrst_pin)

static const struct gpio_dt_spec boot0 = GPIO_DT_SPEC_GET(BOOT0_NODE, gpios);
static const struct gpio_dt_spec nrst  = GPIO_DT_SPEC_GET(NRST_NODE,  gpios);
static const struct device *uart_dev = DEVICE_DT_GET(DT_NODELABEL(uart1));

#define STM32_FLASH_BASE    0x08000000
#define WRITE_CHUNK_SIZE    256
#define MAX_FLASH_SIZE      1500000
#define TLV_IMG_HEADER_SIZE 0x200

#define IMG_SIZE_OFFSET     12
#define HEADER_READ_SIZE    64

#define GET_LE32(p) \
    (((uint32_t)((p)[0])) | \
     ((uint32_t)((p)[1]) << 8) | \
     ((uint32_t)((p)[2]) << 16) | \
     ((uint32_t)((p)[3]) << 24))

static uint8_t calculate_checksum(const uint8_t *data, uint16_t len)
{
    uint8_t checksum = 0;
    for(uint16_t i = 0; i < len; i++)
    {
        checksum ^= data[i];
    }
    return checksum;
}

static int wait_ack(int timeout_ms)
{
    uint8_t ack;
    int64_t start = k_uptime_get();

    while(k_uptime_get() - start < timeout_ms)
    {
        if(uart_poll_in(UART_DEV, &ack) == 0)
        {
            if(ack == 0x79)
            {
                return 0;
            }
            else if(ack == 0x1F)
            {
                LOG_ERR("NACK alındı!");
                return -EIO;
            }
        }
        k_usleep(500);
    }
    LOG_ERR("ACK timeout!");
    return -ETIMEDOUT;
}

static int send_address(uint32_t address)
{
    uint8_t addr[5];
    addr[0] = (address >> 24) & 0xFF;
    addr[1] = (address >> 16) & 0xFF;
    addr[2] = (address >> 8) & 0xFF;
    addr[3] = address & 0xFF;
    addr[4] = calculate_checksum(addr, 4);

    for(int i = 0; i < 5; i++)
    {
        uart_poll_out(UART_DEV, addr[i]);
    }

    return wait_ack(500);
}

static int send_data(const uint8_t *data, uint32_t len)
{
    uint8_t n = len - 1;
    uart_poll_out(UART_DEV, n);

    uint8_t checksum = n;
    for(uint32_t i = 0; i < len; i++)
    {
        uart_poll_out(UART_DEV, data[i]);
        checksum ^= data[i];
    }
    uart_poll_out(UART_DEV, checksum);

    return wait_ack(500);
}

static int stm32_write_memory(uint32_t address, const uint8_t *data, uint32_t len)
{
    if(len > 256 || len == 0)
    {
        return -EINVAL;
    }
    uart_poll_out(UART_DEV, 0x31);
    uart_poll_out(UART_DEV, ~0x31);

    if(wait_ack(500) < 0)
    {
        LOG_ERR("Write command ACK failed");
        return -EIO;
    }

    if(send_address(address) < 0)
    {
        LOG_ERR("Address send failed");
        return -EIO;
    }

    if(send_data(data, len) < 0)
    {
        LOG_ERR("Data send failed");
        return -EIO;
    }

    return 0;
}

int check_magic()
{
    const struct flash_area *fa;
    flash_area_open(FIXED_PARTITION_ID(slot1_partition), &fa);

    for(int i = 0; i < 4096; i++)
    {
        uint32_t v;
        flash_area_read(fa, i, &v, sizeof(v));
        if(v == 0x96f3b83d)
        {
            flash_area_close(fa);
            LOG_INF("MCUboot MAGIC found at offset %d", i);
            return i;
        }
    }

    flash_area_close(fa);
    return -1;
}

size_t get_mcuboot_img_payload_size()
{
    const struct flash_area *fa;
    int ret;
    uint8_t header_buf[HEADER_READ_SIZE];
    uint32_t firmware_len = 0;

    ret = flash_area_open(FIXED_PARTITION_ID(slot1_partition), &fa);
    if(ret != 0)
    {
        LOG_ERR("Hata: Flash alanına erişilemiyor. Kod: %d", ret);
        return 0;
    }

    int magic_offset = check_magic();
    if(magic_offset < 0)
    {
        return -1;
    }

    ret = flash_area_read(fa, magic_offset, header_buf, HEADER_READ_SIZE);
    flash_area_close(fa);

    LOG_HEXDUMP_INF(header_buf, HEADER_READ_SIZE, "Header Buffer");

    if(ret != 0)
    {
        LOG_ERR("Hata: Flash başlık okuma başarısız. Kod: %d", ret);
        return 0;
    }
    firmware_len = GET_LE32(&header_buf[IMG_SIZE_OFFSET]);

    return (size_t)firmware_len;
}

static int stm32_write_firmware(void)
{
    LOG_INF("Firmware yazma işlemi başlıyor...");

    uint32_t fw_size = get_mcuboot_img_payload_size();

    LOG_INF("Partition boyutu: %u bytes (%.1f KB)", fw_size, fw_size / 1024.0);

    if(MAX_FLASH_SIZE < fw_size || fw_size == 0)
    {
        LOG_ERR("Partition hafıza boş yada çok büyük.");
        return -1;
    }

    /* Write Memory komutu gönder: 0x31 + ~0x31 */
    uart_poll_out(UART_DEV, 0x44);
    uart_poll_out(UART_DEV, 0xBB);

    if(wait_ack(500) < 0)
    {
        LOG_ERR("Prapera command ACK failed");
        return -EIO;
    }

    uart_poll_out(UART_DEV, 0x00);
    uart_poll_out(UART_DEV, 0x00);
    uart_poll_out(UART_DEV, 0x00);
    uart_poll_out(UART_DEV, 0x00);
    uart_poll_out(UART_DEV, 0x00);

    if(wait_ack(2500) < 0)
    {
        LOG_ERR("Prapera write command ACK failed");
        return -EIO;
    }

    /* Partition aç */
    const struct flash_area *fa;
    int ret = flash_area_open(FIXED_PARTITION_ID(slot1_partition), &fa);
    if(ret < 0)
    {
        LOG_ERR("Partition açma başarısız: %d", ret);
        return ret;
    }

    /* Yazma buffer'ı */
    uint8_t buffer[WRITE_CHUNK_SIZE];
    uint32_t offset = 0;
    uint32_t stm32_address = STM32_FLASH_BASE;
    uint32_t total_written = 0;
    uint32_t last_log_offset = 0;

    while(offset < fw_size)
    {
        /* Chunk boyutunu hesapla */
        uint32_t chunk_size = MIN(WRITE_CHUNK_SIZE, fw_size - offset);

        /* Partition'dan oku */
        ret = flash_area_read(fa, offset + TLV_IMG_HEADER_SIZE, buffer, chunk_size);
        if(ret < 0)
        {
            LOG_ERR("Flash okuma başarısız (offset: %u): %d", offset, ret);
            flash_area_close(fa);
            return ret;
        }

        /* STM32'ye yaz */
        ret = stm32_write_memory(stm32_address, buffer, chunk_size);
        if(ret < 0)
        {
            LOG_ERR("STM32 yazma başarısız (adres: 0x%08X): %d", stm32_address, ret);
            flash_area_close(fa);
            return ret;
        }

        /* İlerleme takibi */
        offset += chunk_size;
        stm32_address += chunk_size;
        total_written += chunk_size;

        /* Her 1KB'da log bas */
        if(offset - last_log_offset >= 1024 * 5)
        {
            uint32_t percent = (offset * 100) / fw_size;
            LOG_INF("Yazıldı: %u%% (%u/%u bytes)", percent, offset, fw_size);
            last_log_offset = offset;
        }
    }

    flash_area_close(fa);

    LOG_INF("Firmware yazma tamamlandı! Toplam: %u bytes", total_written);
    return 0;
}

static int stm32_extended_erase_all(void)
{
    uart_poll_out(UART_DEV, 0x44);
    uart_poll_out(UART_DEV, 0xBB);
    int ret = wait_ack(500);
    if(ret < 0) return ret;
    uart_poll_out(UART_DEV, 0xFF);
    uart_poll_out(UART_DEV, 0xFF);
    uart_poll_out(UART_DEV, 0x00);
    ret = wait_ack(6000); // ~4.2sn
    if(ret < 0) return ret;
    return 0;
}

static void stm32_enter_bootloader(void)
{
    gpio_pin_set_dt(&boot0, 1);
    gpio_pin_set_dt(&nrst, 0);
    k_msleep(50);
    gpio_pin_set_dt(&nrst, 1);
    k_msleep(200);
    LOG_INF("STM32H7 bootloader moduna alındı (BOOT0=1 + reset)");
}

static void stm32_exit_bootloader(void)
{
    gpio_pin_set_dt(&boot0, 0);
    gpio_pin_set_dt(&nrst, 0);
    k_msleep(50);
    gpio_pin_set_dt(&nrst, 1);
    k_msleep(200);
    LOG_INF("STM32H7 bootloader modundan çıkarıldı. (BOOT0=0 + reset)");
}

static int stm32_bootloader_sync(void)
{
    uart_poll_out(UART_DEV, 0x7F);
    return wait_ack(500);
}

int stm32_flashing_start(void)
{
    struct uart_config cfg =
    {
        .baudrate = 115200,
        .parity   = UART_CFG_PARITY_EVEN,
        .stop_bits = UART_CFG_STOP_BITS_1,
        .data_bits = UART_CFG_DATA_BITS_8,
        .flow_ctrl = UART_CFG_FLOW_CTRL_NONE,
    };

    int ret = uart_configure(uart_dev, &cfg);
    if(ret)
    {
        printk("UART configure error: %d\n", ret);
    }

    if(check_magic() < 0)
    {
        LOG_ERR("IMG file bulunamadı!.");
        return -1;
    }

    LOG_WRN("ESP32-C6 → STM32H7 UART Flasher başladı");

    ret = gpio_pin_configure_dt(&boot0, GPIO_OUTPUT_HIGH);
    if(ret < 0)
    {
        LOG_ERR("BOOT0 configure failed: %d", ret);
        return -ret;
    }

    ret = gpio_pin_configure_dt(&nrst, GPIO_OUTPUT_HIGH);
    if(ret < 0)
    {
        LOG_ERR("NRST configure failed: %d", ret);
        return ret;
    }

    stm32_enter_bootloader();

    if(stm32_bootloader_sync() != 0)
    {
        LOG_ERR("Sync başarısız, kablolama/boot pinlerini kontrol et");
        stm32_exit_bootloader();
        return ret;
    }

    LOG_INF("Tüm Flashı Silme işlemi Başladı!");

    ret = stm32_extended_erase_all();
    if(ret < 0)
    {
        LOG_ERR("Flash silme başarısız!!! ret: %d", ret);
        stm32_exit_bootloader();
        return ret;
    }
    LOG_INF("Tüm Flash başarıyla silindi!");

    ret = stm32_write_firmware();
    if(ret < 0)
    {
        LOG_ERR("Firmware yazma başarısız!");
        stm32_exit_bootloader();
        return ret;
    }
    stm32_exit_bootloader();
    LOG_WRN("=== ✓ Programlama Başarılı! ===");

    return 0;
}
```
